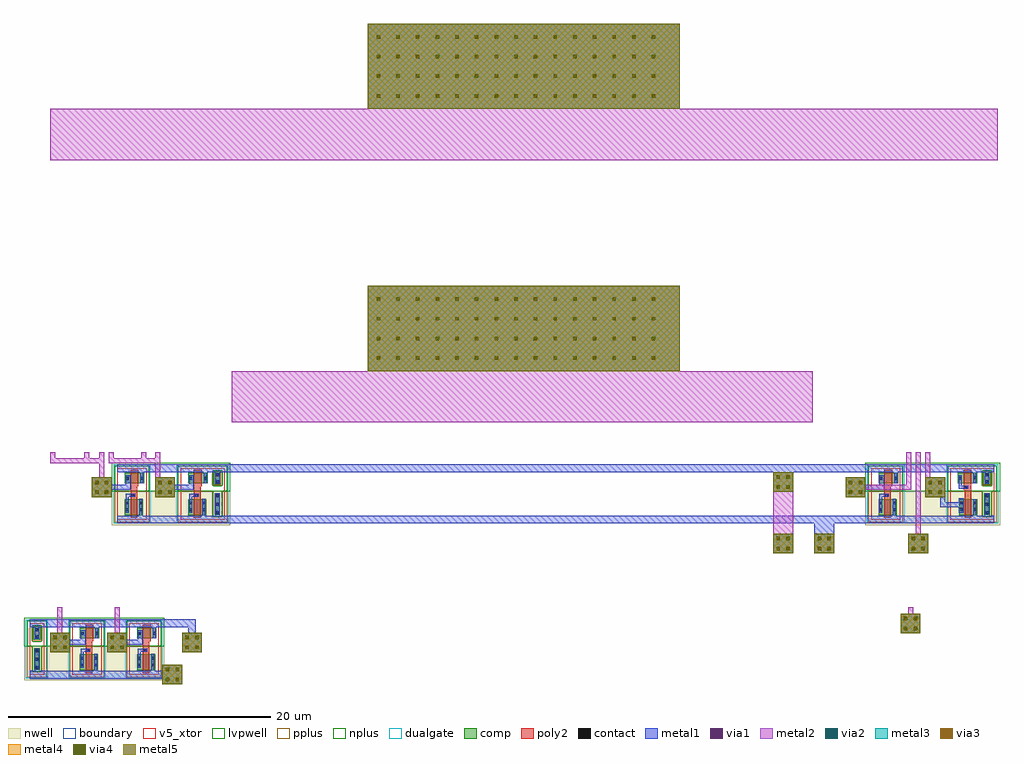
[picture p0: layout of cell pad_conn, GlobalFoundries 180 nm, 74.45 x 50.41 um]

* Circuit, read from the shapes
.subckt pad_conn VDD VSS
XM1 VSS n1 D_IN_C_CON_2/gf180mcu_fd_sc_mcu7t5v0__tiel_1/ZN VSS nfet_05v0 w=0.82u l=0.6u
XM2 VSS n2 D_BI_T_CON_3/gf180mcu_fd_sc_mcu7t5v0__tiel_6/ZN VSS nfet_05v0 w=0.82u l=0.6u
XM3 VSS n3 D_IN_C_CON_2/gf180mcu_fd_sc_mcu7t5v0__tiel_0/ZN VSS nfet_05v0 w=0.82u l=0.6u
XM4 VSS n4 D_BI_T_CON_3/gf180mcu_fd_sc_mcu7t5v0__tiel_5/ZN VSS nfet_05v0 w=0.82u l=0.6u
XM5 VSS n5 D_BI_T_CON_3/gf180mcu_fd_sc_mcu7t5v0__tiel_4/ZN VSS nfet_05v0 w=0.82u l=0.6u
XM6 VSS n6 n6 VSS nfet_05v0 w=0.82u l=0.6u
XM7 VDD n1 n1 VDD pfet_05v0 w=1.22u l=0.5u
XM8 VDD n2 n2 VDD pfet_05v0 w=1.22u l=0.5u
XM9 VDD n3 n3 VDD pfet_05v0 w=1.22u l=0.5u
XM10 VDD n4 n4 VDD pfet_05v0 w=1.22u l=0.5u
XM11 VDD n5 n5 VDD pfet_05v0 w=1.22u l=0.5u
XM12 VDD n6 D_BI_T_CON_3/gf180mcu_fd_sc_mcu7t5v0__tieh_3/Z VDD pfet_05v0 w=1.22u l=0.5u
.ends

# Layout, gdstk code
from math import pi, radians
import gdstk
lib = gdstk.Library(unit=1e-6, precision=1e-09)
def R(c, l, rs):  # rectangles x0, y0, x1, y1
    for r in rs: c.add(gdstk.rectangle(r[:2], r[2:], *l))
def A(c, l, x, y, w, h, nx, ny, dx, dy):  # array of equal rectangles
    R(c, l, [(x+i*dx, y+j*dy, x+i*dx+w, y+j*dy+h) for i in range(nx) for j in range(ny)])
def P(c, l, *ps):  # polygons
    for p in ps: c.add(gdstk.Polygon(p, *l))
boundary = (0, 0)
nwell = (21, 0)
comp = (22, 0)
poly2 = (30, 0)
pplus = (31, 0)
nplus = (32, 0)
contact = (33, 0)
metal1 = (34, 0)
via1 = (35, 0)
metal2 = (36, 0)
via2 = (38, 0)
via3 = (40, 0)
via4 = (41, 0)
metal3 = (42, 0)
metal4 = (46, 0)
dualgate = (55, 0)
metal5 = (81, 0)
v5_xtor = (112, 1)
lvpwell = (204, 0)

analog_con = lib.new_cell('ANALOG_CON')
R(analog_con, metal1, [(24.25,3.905,48.03,10.415)])
A(analog_con, via1, 24.91, 4.77, 0.26, 0.26, 15, 4, 1.5, 1.5)
R(analog_con, metal2, [(13.87,0,58.19,3.905), (24.25,3.905,48.03,10.415)])
A(analog_con, via2, 24.91, 4.77, 0.26, 0.26, 15, 4, 1.5, 1.5)
A(analog_con, via3, 24.91, 4.77, 0.26, 0.26, 15, 4, 1.5, 1.5)
A(analog_con, via4, 24.91, 4.77, 0.26, 0.26, 15, 4, 1.5, 1.5)
R(analog_con, metal3, [(24.25,3.905,48.03,10.415)])
R(analog_con, metal4, [(24.25,3.905,48.03,10.415)])
R(analog_con, metal5, [(24.25,3.905,48.03,10.415)])

vdd_vss_con = lib.new_cell('VDD_VSS_CON')
R(vdd_vss_con, metal1, [(24.25,3.905,48.03,10.415)])
A(vdd_vss_con, via1, 24.91, 4.77, 0.26, 0.26, 15, 4, 1.5, 1.5)
R(vdd_vss_con, metal2, [(0,0,72.28,3.905), (24.25,3.905,48.03,10.415)])
A(vdd_vss_con, via2, 24.91, 4.77, 0.26, 0.26, 15, 4, 1.5, 1.5)
A(vdd_vss_con, via3, 24.91, 4.77, 0.26, 0.26, 15, 4, 1.5, 1.5)
A(vdd_vss_con, via4, 24.91, 4.77, 0.26, 0.26, 15, 4, 1.5, 1.5)
R(vdd_vss_con, metal3, [(24.25,3.905,48.03,10.415)])
R(vdd_vss_con, metal4, [(24.25,3.905,48.03,10.415)])
R(vdd_vss_con, metal5, [(24.25,3.905,48.03,10.415)])

gf180mcu_fd_sc_mcu7t5v0_ = lib.new_cell('gf180mcu_fd_sc_mcu7t5v0__tiel')
R(gf180mcu_fd_sc_mcu7t5v0_, boundary, [(0,0,2.24,3.92)])
R(gf180mcu_fd_sc_mcu7t5v0_, nwell, [(-0.43,1.76,2.67,4.35)])
R(gf180mcu_fd_sc_mcu7t5v0_, comp, [(0.18,0.34,1.66,1.16), (0.28,2.36,1.66,3.58)])
P(gf180mcu_fd_sc_mcu7t5v0_, poly2, [(0.62,0.12),(0.62,1.38),(0.72,1.38),(0.72,3.8),(1.22,3.8),(1.22,0.12)])
R(gf180mcu_fd_sc_mcu7t5v0_, pplus, [(-0.2,1.76,2.44,4.12)])
R(gf180mcu_fd_sc_mcu7t5v0_, nplus, [(-0.2,-0.2,2.44,1.76)])
R(gf180mcu_fd_sc_mcu7t5v0_, contact, [(0.25,0.65,0.47,0.87), (1.37,0.675,1.59,0.895), (0.93,1.955,1.15,2.175), (0.35,2.55,0.57,2.77), (1.37,2.55,1.59,2.77), (0.35,3.075,0.57,3.295), (1.37,3.075,1.59,3.295)])
R(gf180mcu_fd_sc_mcu7t5v0_, metal1, [(1.22,0.53,1.595,1.65)])
P(gf180mcu_fd_sc_mcu7t5v0_, metal1, [(0.87,1.95),(0.87,2.185),(1.365,2.185),(1.365,3.39),(1.595,3.39),(1.595,1.95)],
  [(0,-0.3),(0,0.3),(0.245,0.3),(0.245,1.16),(0.475,1.16),(0.475,0.3),(2.24,0.3),(2.24,-0.3)],
  [(0.345,2.345),(0.345,3.62),(0,3.62),(0,4.22),(2.24,4.22),(2.24,3.62),(0.575,3.62),(0.575,2.345)])
R(gf180mcu_fd_sc_mcu7t5v0_, dualgate, [(-0.28,-0.28,2.52,4.2)])
R(gf180mcu_fd_sc_mcu7t5v0_, v5_xtor, [(0,0,2.24,3.92)])
R(gf180mcu_fd_sc_mcu7t5v0_, lvpwell, [(-0.43,-0.43,2.67,1.76)])
gf180mcu_fd_sc_mcu7t5v0_.add(gdstk.Label('ZN', (1.4,0.84), layer=34, texttype=10))
gf180mcu_fd_sc_mcu7t5v0_.add(gdstk.Label('VDD', (1.12,3.915), layer=34, texttype=10))
gf180mcu_fd_sc_mcu7t5v0_.add(gdstk.Label('VSS', (1.12,-0.01), layer=34, texttype=10))
gf180mcu_fd_sc_mcu7t5v0_.add(gdstk.Label('& Vendor GLOBALFOUNDRIES', (0,2), layer=63, texttype=63))
gf180mcu_fd_sc_mcu7t5v0_.add(gdstk.Label('& Product GF018hv5v_mcu_sc7', (0,1.5), layer=63, texttype=63))
gf180mcu_fd_sc_mcu7t5v0_.add(gdstk.Label('& Version 2015q2v1', (0,1), layer=63, texttype=63))
gf180mcu_fd_sc_mcu7t5v0_.add(gdstk.Label('& Metric 1.00', (0,0.5), layer=63, texttype=63))
gf180mcu_fd_sc_mcu7t5v0_.add(gdstk.Label('VNW', (0.345,3.92), layer=21, texttype=10))
gf180mcu_fd_sc_mcu7t5v0_.add(gdstk.Label('VPW', (0.34,-0.085), layer=204, texttype=10))

via_full_stack = lib.new_cell('VIA_FULL_STACK')
R(via_full_stack, metal1, [(-0.375,-0.375,0.375,0.375)])
R(via_full_stack, via1, [(-0.13,-0.13,0.13,0.13)])
R(via_full_stack, metal2, [(-0.375,-0.375,0.375,0.375)])
R(via_full_stack, via2, [(-0.13,-0.13,0.13,0.13)])
R(via_full_stack, via3, [(-0.13,-0.13,0.13,0.13)])
R(via_full_stack, via4, [(-0.13,-0.13,0.13,0.13)])
R(via_full_stack, metal3, [(-0.375,-0.375,0.375,0.375)])
R(via_full_stack, metal4, [(-0.375,-0.375,0.375,0.375)])
R(via_full_stack, metal5, [(-0.375,-0.375,0.375,0.375)])

c_gf180mcu_fd_sc_mcu7t5v0_ = lib.new_cell('gf180mcu_fd_sc_mcu7t5v0__filltie')
R(c_gf180mcu_fd_sc_mcu7t5v0_, boundary, [(0,0,1.12,3.92)])
R(c_gf180mcu_fd_sc_mcu7t5v0_, nwell, [(-0.43,1.76,1.55,4.35)])
R(c_gf180mcu_fd_sc_mcu7t5v0_, comp, [(0.28,0.28,0.84,1.28), (0.36,1.92,0.76,3.56)])
R(c_gf180mcu_fd_sc_mcu7t5v0_, pplus, [(0.2,0.2,0.92,1.36)])
P(c_gf180mcu_fd_sc_mcu7t5v0_, pplus, [(-0.2,1.76),(-0.2,4.12),(1.32,4.12),(1.32,1.76),(0.92,1.76),(0.92,3.72),(0.2,3.72),(0.2,1.76)])
P(c_gf180mcu_fd_sc_mcu7t5v0_, nplus, [(-0.2,-0.2),(-0.2,1.76),(0.2,1.76),(0.2,3.72),(0.92,3.72),(0.92,1.36),(0.2,1.36),(0.2,0.2),(0.92,0.2),(0.92,3.72),(0.92,1.76),(1.32,1.76),(1.32,-0.2)])
A(c_gf180mcu_fd_sc_mcu7t5v0_, contact, 0.45, 1.99, 0.22, 0.22, 1, 3, 0, 0.64)
R(c_gf180mcu_fd_sc_mcu7t5v0_, contact, [(0.45,0.4,0.67,0.62), (0.45,0.905,0.67,1.125)])
P(c_gf180mcu_fd_sc_mcu7t5v0_, metal1, [(0,-0.3),(0,0.3),(0.39,0.3),(0.39,1.185),(0.73,1.185),(0.73,0.3),(1.12,0.3),(1.12,-0.3)],
  [(0.39,1.93),(0.39,3.62),(0,3.62),(0,4.22),(1.12,4.22),(1.12,3.62),(0.73,3.62),(0.73,1.93)])
R(c_gf180mcu_fd_sc_mcu7t5v0_, dualgate, [(-0.28,-0.28,1.4,4.2)])
R(c_gf180mcu_fd_sc_mcu7t5v0_, v5_xtor, [(0,0,1.12,3.92)])
R(c_gf180mcu_fd_sc_mcu7t5v0_, lvpwell, [(-0.43,-0.43,1.55,1.76)])
c_gf180mcu_fd_sc_mcu7t5v0_.add(gdstk.Label('VDD', (0.57,3.92), layer=34, texttype=10))
c_gf180mcu_fd_sc_mcu7t5v0_.add(gdstk.Label('VSS', (0.57,0), layer=34, texttype=10))
c_gf180mcu_fd_sc_mcu7t5v0_.add(gdstk.Label('& Vendor GLOBALFOUNDRIES', (0,2), layer=63, texttype=63))
c_gf180mcu_fd_sc_mcu7t5v0_.add(gdstk.Label('& Product GF018hv5v_mcu_sc7', (0,1.5), layer=63, texttype=63))
c_gf180mcu_fd_sc_mcu7t5v0_.add(gdstk.Label('& Version 2015q2v1', (0,1), layer=63, texttype=63))
c_gf180mcu_fd_sc_mcu7t5v0_.add(gdstk.Label('& Metric 1.00', (0,0.5), layer=63, texttype=63))

d_in_c_con = lib.new_cell('D_IN_C_CON')
R(d_in_c_con, nwell, [(-0.01,0.32,1.26,2.91), (4.36,0.32,5.625,2.91)])
R(d_in_c_con, metal1, [(-0.44,0.45,1.69,1.05), (3.93,0.45,6.055,1.05), (-0.44,4.345,1.69,4.97), (3.93,4.37,6.055,4.97)])
R(d_in_c_con, lvpwell, [(-0.01,2.91,1.26,5.1), (4.36,2.91,5.625,5.1)])
d_in_c_con.add(gdstk.FlexPath([(0.75,3.21),(2.71,3.21)], 0.38, ends="flush", simple_path=True, layer=34, datatype=0))  # metal1
d_in_c_con.add(gdstk.FlexPath([(5.115,3.21),(7.075,3.21)], 0.38, ends="flush", simple_path=True, layer=34, datatype=0))  # metal1
d_in_c_con.add(gdstk.FlexPath([(8.295,0.75),(9.325,0.75)], 0.6, ends="flush", simple_path=True, layer=34, datatype=0))  # metal1
d_in_c_con.add(gdstk.FlexPath([(8.295,4.67),(10.825,4.67),(10.825,3.21)], 0.6, ends="flush", simple_path=True, layer=34, datatype=0))  # metal1
d_in_c_con.add(gdstk.FlexPath([(0.75,5.88),(0.75,3.21)], 0.38, ends="flush", simple_path=True, layer=36, datatype=0))  # metal2
d_in_c_con.add(gdstk.FlexPath([(5.115,5.88),(5.115,3.21)], 0.38, ends="flush", simple_path=True, layer=36, datatype=0))  # metal2
d_in_c_con.add(gdstk.FlexPath([(65.645,5.88),(65.645,4.645)], 0.38, ends="flush", simple_path=True, layer=36, datatype=0))  # metal2
d_in_c_con.add(gdstk.Reference(gf180mcu_fd_sc_mcu7t5v0_, (8.295,4.67), rotation=pi))
d_in_c_con.add(gdstk.Reference(gf180mcu_fd_sc_mcu7t5v0_, (3.93,4.67), rotation=pi))
d_in_c_con.add(gdstk.Reference(via_full_stack, (1.125,2.835), rotation=pi))
d_in_c_con.add(gdstk.Reference(via_full_stack, (1.125,3.585), rotation=pi))
d_in_c_con.add(gdstk.Reference(via_full_stack, (0.375,3.585), rotation=pi))
d_in_c_con.add(gdstk.Reference(via_full_stack, (0.375,2.835), rotation=pi))
d_in_c_con.add(gdstk.Reference(via_full_stack, (4.74,2.835), rotation=pi))
d_in_c_con.add(gdstk.Reference(via_full_stack, (5.49,2.835), rotation=pi))
d_in_c_con.add(gdstk.Reference(via_full_stack, (5.49,3.585), rotation=pi))
d_in_c_con.add(gdstk.Reference(via_full_stack, (4.74,3.585), rotation=pi))
d_in_c_con.add(gdstk.Reference(via_full_stack, (10.45,3.585), rotation=pi))
d_in_c_con.add(gdstk.Reference(via_full_stack, (11.2,3.585), rotation=pi))
d_in_c_con.add(gdstk.Reference(via_full_stack, (10.45,2.835), rotation=pi))
d_in_c_con.add(gdstk.Reference(via_full_stack, (11.2,2.835), rotation=pi))
d_in_c_con.add(gdstk.Reference(via_full_stack, (9.7,1.125), rotation=pi))
d_in_c_con.add(gdstk.Reference(via_full_stack, (8.95,1.125), rotation=pi))
d_in_c_con.add(gdstk.Reference(via_full_stack, (8.95,0.375), rotation=pi))
d_in_c_con.add(gdstk.Reference(via_full_stack, (9.7,0.375), rotation=pi))
d_in_c_con.add(gdstk.Reference(via_full_stack, (65.27,5.02), rotation=pi))
d_in_c_con.add(gdstk.Reference(via_full_stack, (66.02,5.02), rotation=pi))
d_in_c_con.add(gdstk.Reference(via_full_stack, (65.27,4.27), rotation=pi))
d_in_c_con.add(gdstk.Reference(via_full_stack, (66.02,4.27), rotation=pi))
d_in_c_con.add(gdstk.Reference(c_gf180mcu_fd_sc_mcu7t5v0_, (-0.44,4.67), rotation=pi))
d_in_c_con.add(gdstk.Label('VDD', (9.83,0.995), layer=34, texttype=10))
d_in_c_con.add(gdstk.Label('IN', (65.98,4.645), layer=81, texttype=10))
d_in_c_con.add(gdstk.Label('VSS', (11.07,3.475), layer=36, texttype=10))

c_gf180mcu_fd_sc_mcu7t5v0__ = lib.new_cell('gf180mcu_fd_sc_mcu7t5v0__tieh')
R(c_gf180mcu_fd_sc_mcu7t5v0__, boundary, [(0,0,2.24,3.92)])
R(c_gf180mcu_fd_sc_mcu7t5v0__, nwell, [(-0.43,1.76,2.67,4.35)])
R(c_gf180mcu_fd_sc_mcu7t5v0__, comp, [(0.185,0.34,1.665,1.16), (0.185,2.36,1.565,3.58)])
P(c_gf180mcu_fd_sc_mcu7t5v0__, poly2, [(0.625,0.12),(0.625,3.8),(1.125,3.8),(1.125,1.635),(1.225,1.635),(1.225,0.12)])
R(c_gf180mcu_fd_sc_mcu7t5v0__, pplus, [(-0.2,1.76,2.44,4.12)])
R(c_gf180mcu_fd_sc_mcu7t5v0__, nplus, [(-0.2,-0.2,2.44,1.76)])
R(c_gf180mcu_fd_sc_mcu7t5v0__, contact, [(0.255,0.635,0.475,0.855), (1.375,0.65,1.595,0.87), (0.935,1.345,1.155,1.565), (0.255,2.55,0.475,2.77), (1.275,2.55,1.495,2.77), (0.255,3.02,0.475,3.24), (1.275,3.02,1.495,3.24)])
R(c_gf180mcu_fd_sc_mcu7t5v0__, metal1, [(1.22,2.305,1.58,3.39)])
P(c_gf180mcu_fd_sc_mcu7t5v0__, metal1, [(1.37,0.53),(1.37,1.335),(0.875,1.335),(0.875,1.57),(1.6,1.57),(1.6,0.53)],
  [(0,-0.3),(0,0.3),(0.25,0.3),(0.25,1.16),(0.48,1.16),(0.48,0.3),(2.24,0.3),(2.24,-0.3)],
  [(0.25,2.36),(0.25,3.62),(0,3.62),(0,4.22),(2.24,4.22),(2.24,3.62),(0.48,3.62),(0.48,2.36)])
R(c_gf180mcu_fd_sc_mcu7t5v0__, dualgate, [(-0.28,-0.28,2.52,4.2)])
R(c_gf180mcu_fd_sc_mcu7t5v0__, v5_xtor, [(0,0,2.24,3.92)])
R(c_gf180mcu_fd_sc_mcu7t5v0__, lvpwell, [(-0.43,-0.43,2.67,1.76)])
c_gf180mcu_fd_sc_mcu7t5v0__.add(gdstk.Label('Z', (1.4,3.08), layer=34, texttype=10))
c_gf180mcu_fd_sc_mcu7t5v0__.add(gdstk.Label('VDD', (1.12,3.935), layer=34, texttype=10))
c_gf180mcu_fd_sc_mcu7t5v0__.add(gdstk.Label('VSS', (1.12,-0.03), layer=34, texttype=10))
c_gf180mcu_fd_sc_mcu7t5v0__.add(gdstk.Label('& Vendor GLOBALFOUNDRIES', (0,2), layer=63, texttype=63))
c_gf180mcu_fd_sc_mcu7t5v0__.add(gdstk.Label('& Product GF018hv5v_mcu_sc7', (0,1.5), layer=63, texttype=63))
c_gf180mcu_fd_sc_mcu7t5v0__.add(gdstk.Label('& Version 2015q2v1', (0,1), layer=63, texttype=63))
c_gf180mcu_fd_sc_mcu7t5v0__.add(gdstk.Label('& Metric 1.00', (0,0.5), layer=63, texttype=63))
c_gf180mcu_fd_sc_mcu7t5v0__.add(gdstk.Label('VNW', (0.345,3.92), layer=21, texttype=10))
c_gf180mcu_fd_sc_mcu7t5v0__.add(gdstk.Label('VPW', (0.34,-0.085), layer=204, texttype=10))

d_bi_t_con = lib.new_cell('D_BI_T_CON')
R(d_bi_t_con, nwell, [(7.79,2.15,9.525,4.74), (65.295,2.15,68.245,4.74)])
R(d_bi_t_con, metal1, [(58.31,1.5,59.81,2.28), (7.36,2.28,9.955,2.88), (13.315,2.28,62.625,2.88), (64.865,2.28,68.675,2.88), (7.36,6.2,9.955,6.8), (13.315,6.2,62.625,6.8), (64.865,6.2,68.675,6.8)])
R(d_bi_t_con, metal2, [(55.175,1.5,56.675,6.2)])
R(d_bi_t_con, lvpwell, [(7.79,4.74,9.525,6.93), (65.295,4.74,68.245,6.93)])
d_bi_t_con.add(gdstk.FlexPath([(67.53,5.04),(68.08,5.04),(68.08,3.715),(69.695,3.715)], 0.38, ends="flush", simple_path=True, layer=34, datatype=0))  # metal1
d_bi_t_con.add(gdstk.FlexPath([(63.645,5.04),(61.045,5.04)], 0.38, ends="flush", simple_path=True, layer=34, datatype=0))  # metal1
d_bi_t_con.add(gdstk.FlexPath([(3.965,5.04),(6.14,5.04)], 0.38, ends="flush", simple_path=True, layer=34, datatype=0))  # metal1
d_bi_t_con.add(gdstk.FlexPath([(8.95,5.04),(10.975,5.04)], 0.38, ends="flush", simple_path=True, layer=34, datatype=0))  # metal1
d_bi_t_con.add(gdstk.FlexPath([(66.23,7.71),(66.23,0.115)], 0.38, ends="flush", simple_path=True, layer=36, datatype=0))  # metal2
d_bi_t_con.add(gdstk.FlexPath([(66.96,7.71),(66.96,5.04),(67.785,5.04)], 0.38, ends="flush", simple_path=True, layer=36, datatype=0))  # metal2
d_bi_t_con.add(gdstk.FlexPath([(65.5,7.71),(65.5,5.04),(61.445,5.04)], 0.38, ends="flush", simple_path=True, layer=36, datatype=0))  # metal2
d_bi_t_con.add(gdstk.FlexPath([(8.215,7.71),(8.215,5.185),(9.13,5.185)], 0.38, ends="flush", simple_path=True, layer=36, datatype=0))  # metal2
d_bi_t_con.add(gdstk.FlexPath([(7.16,7.71),(7.16,7.065),(8.405,7.065)], 0.38, ends="flush", simple_path=True, layer=36, datatype=0))  # metal2
d_bi_t_con.add(gdstk.FlexPath([(4.65,7.71),(4.65,7.065),(7.16,7.065)], 0.38, ends="flush", simple_path=True, layer=36, datatype=0))  # metal2
d_bi_t_con.add(gdstk.FlexPath([(3.94,7.71),(3.94,5.19),(4.665,5.19)], 0.38, ends="flush", simple_path=True, layer=36, datatype=0))  # metal2
d_bi_t_con.add(gdstk.FlexPath([(2.795,7.71),(2.795,7.065),(4.13,7.065)], 0.38, ends="flush", simple_path=True, layer=36, datatype=0))  # metal2
d_bi_t_con.add(gdstk.FlexPath([(0.19,7.71),(0.19,7.065),(2.795,7.065)], 0.38, ends="flush", simple_path=True, layer=36, datatype=0))  # metal2
d_bi_t_con.add(gdstk.Reference(via_full_stack, (55.55,5.825), rotation=pi))
d_bi_t_con.add(gdstk.Reference(c_gf180mcu_fd_sc_mcu7t5v0_, (13.315,6.5), rotation=pi))
d_bi_t_con.add(gdstk.Reference(c_gf180mcu_fd_sc_mcu7t5v0_, (72.035,6.5), rotation=pi))
d_bi_t_con.add(gdstk.Reference(c_gf180mcu_fd_sc_mcu7t5v0__, (70.915,6.5), rotation=pi))
d_bi_t_con.add(gdstk.Reference(gf180mcu_fd_sc_mcu7t5v0_, (64.865,6.5), rotation=pi))
d_bi_t_con.add(gdstk.Reference(gf180mcu_fd_sc_mcu7t5v0_, (12.195,6.5), rotation=pi))
d_bi_t_con.add(gdstk.Reference(gf180mcu_fd_sc_mcu7t5v0_, (7.36,6.5), rotation=pi))
d_bi_t_con.add(gdstk.Reference(via_full_stack, (67.145,5.415), rotation=pi))
d_bi_t_con.add(gdstk.Reference(via_full_stack, (67.895,5.415), rotation=pi))
d_bi_t_con.add(gdstk.Reference(via_full_stack, (67.145,4.665), rotation=pi))
d_bi_t_con.add(gdstk.Reference(via_full_stack, (67.895,4.665), rotation=pi))
d_bi_t_con.add(gdstk.Reference(via_full_stack, (61.82,5.415), rotation=pi))
d_bi_t_con.add(gdstk.Reference(via_full_stack, (61.82,4.665), rotation=pi))
d_bi_t_con.add(gdstk.Reference(via_full_stack, (61.07,4.665), rotation=pi))
d_bi_t_con.add(gdstk.Reference(via_full_stack, (61.07,5.415), rotation=pi))
d_bi_t_con.add(gdstk.Reference(via_full_stack, (65.855,1.125), rotation=pi))
d_bi_t_con.add(gdstk.Reference(via_full_stack, (66.605,1.125), rotation=pi))
d_bi_t_con.add(gdstk.Reference(via_full_stack, (65.855,0.375), rotation=pi))
d_bi_t_con.add(gdstk.Reference(via_full_stack, (66.605,0.375), rotation=pi))
d_bi_t_con.add(gdstk.Reference(via_full_stack, (59.435,1.125), rotation=pi))
d_bi_t_con.add(gdstk.Reference(via_full_stack, (58.685,1.125), rotation=pi))
d_bi_t_con.add(gdstk.Reference(via_full_stack, (58.685,0.375), rotation=pi))
d_bi_t_con.add(gdstk.Reference(via_full_stack, (59.435,0.375), rotation=pi))
d_bi_t_con.add(gdstk.Reference(via_full_stack, (56.3,1.125), rotation=pi))
d_bi_t_con.add(gdstk.Reference(via_full_stack, (55.55,1.125), rotation=pi))
d_bi_t_con.add(gdstk.Reference(via_full_stack, (55.55,0.375), rotation=pi))
d_bi_t_con.add(gdstk.Reference(via_full_stack, (56.3,0.375), rotation=pi))
d_bi_t_con.add(gdstk.Reference(via_full_stack, (8.4,5.415), rotation=pi))
d_bi_t_con.add(gdstk.Reference(via_full_stack, (9.15,5.415), rotation=pi))
d_bi_t_con.add(gdstk.Reference(via_full_stack, (8.4,4.665), rotation=pi))
d_bi_t_con.add(gdstk.Reference(via_full_stack, (9.15,4.665), rotation=pi))
d_bi_t_con.add(gdstk.Reference(via_full_stack, (3.565,5.415), rotation=pi))
d_bi_t_con.add(gdstk.Reference(via_full_stack, (4.315,5.415), rotation=pi))
d_bi_t_con.add(gdstk.Reference(via_full_stack, (3.565,4.665), rotation=pi))
d_bi_t_con.add(gdstk.Reference(via_full_stack, (4.315,4.665), rotation=pi))
d_bi_t_con.add(gdstk.Reference(via_full_stack, (56.3,5.825), rotation=pi))
d_bi_t_con.add(gdstk.Reference(via_full_stack, (55.55,5.075), rotation=pi))
d_bi_t_con.add(gdstk.Reference(via_full_stack, (56.3,5.075), rotation=pi))
d_bi_t_con.add(gdstk.Label('VDD', (59.565,1.16), layer=34, texttype=10))
d_bi_t_con.add(gdstk.Label('OUT', (66.855,0.945), layer=81, texttype=10))
d_bi_t_con.add(gdstk.Label('VSS', (56.43,1.125), layer=36, texttype=10))

pad_conn = lib.new_cell('pad_conn')
pad_conn.add(gdstk.Reference(analog_con, (0,0)))
pad_conn.add(gdstk.Reference(vdd_vss_con, (0,20)))
pad_conn.add(gdstk.Reference(d_in_c_con, (0,-20)))
pad_conn.add(gdstk.Reference(d_bi_t_con, (0,-10)))

lib.write_gds('pad_conn.gds')
